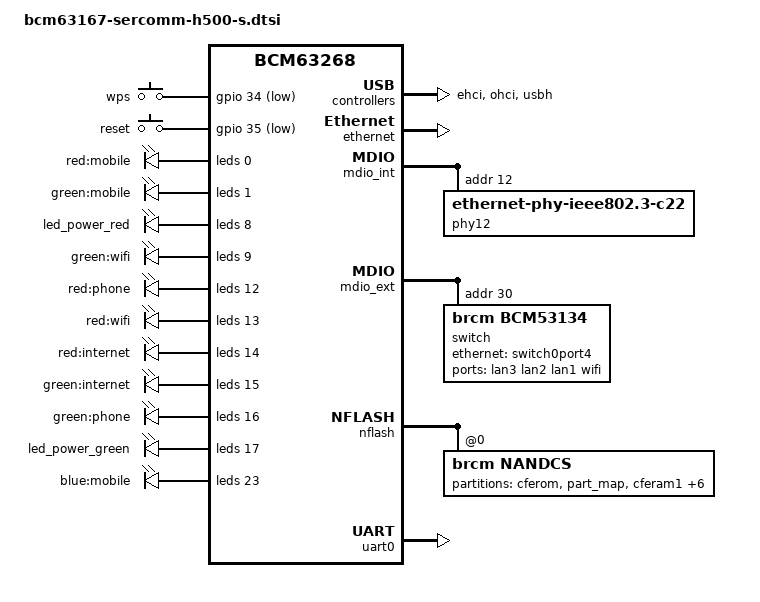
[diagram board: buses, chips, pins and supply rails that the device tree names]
// SPDX-License-Identifier: GPL-2.0-or-later

#include <dt-bindings/leds/common.h>

#include "bcm63268.dtsi"

/ {
	aliases {
		led-boot = &led_power_green;
		led-failsafe = &led_power_red;
		led-running = &led_power_green;
		led-upgrade = &led_power_green;
	};

	keys {
		compatible = "gpio-keys-polled";
		poll-interval = <100>;

		wps {
			label = "wps";
			gpios = <&gpio 34 GPIO_ACTIVE_LOW>;
			linux,code = <KEY_WPS_BUTTON>;
			debounce-interval = <60>;
		};

		reset {
			label = "reset";
			gpios = <&gpio 35 GPIO_ACTIVE_LOW>;
			linux,code = <KEY_RESTART>;
			debounce-interval = <60>;
		};
	};
};

&ehci {
	status = "okay";
};

&ethernet {
	status = "okay";

	nvmem-cells = <&macaddr_cferom_6a0>;
	nvmem-cell-names = "mac-address";
};

&leds {
	status = "okay";

	pinctrl-names = "default";
	pinctrl-0 = <&pinctrl_leds>;

	led@0 {
		reg = <0>;
		label = "red:mobile";
	};

	led@1 {
		reg = <1>;
		label = "green:mobile";
	};

	led_power_red: led@8 {
		reg = <8>;
		function = LED_FUNCTION_POWER;
		color = <LED_COLOR_ID_RED>;
		panic-indicator;
	};

	led@9 {
		reg = <9>;
		label = "green:wifi";
	};

	led@12 {
		reg = <12>;
		label = "red:phone";
	};

	led@13 {
		reg = <13>;
		label = "red:wifi";
	};

	led@14 {
		reg = <14>;
		label = "red:internet";
	};

	led@15 {
		reg = <15>;
		label = "green:internet";
	};

	led@16 {
		reg = <16>;
		label = "green:phone";
	};

	led_power_green: led@17 {
		reg = <17>;
		function = LED_FUNCTION_POWER;
		color = <LED_COLOR_ID_GREEN>;
	};

	led@23 {
		reg = <23>;
		label = "blue:mobile";
	};
};

&mdio_int {
	phy12: ethernet-phy@c {
		compatible = "ethernet-phy-ieee802.3-c22";
		reg = <12>;
	};
};

&mdio_ext {
	switch@1e {
		compatible = "brcm,bcm53134";
		reg = <30>;

		dsa,member = <1 0>;

		ports {
			#address-cells = <1>;
			#size-cells = <0>;

			port@1 {
				reg = <1>;
				label = "lan3";
			};

			port@2 {
				reg = <2>;
				label = "lan2";
			};

			port@3 {
				reg = <3>;
				label = "lan1";
			};

			port@5 {
				reg = <5>;
				label = "wifi";

				phy-mode = "rgmii";

				fixed-link {
					speed = <1000>;
					full-duplex;
				};
			};

			port@8 {
				reg = <8>;

				phy-mode = "rgmii-txid";
				ethernet = <&switch0port4>;

				fixed-link {
					speed = <1000>;
					full-duplex;
				};
			};
		};
	};
};

&nflash {
	status = "okay";

	nandcs@0 {
		compatible = "brcm,nandcs";
		reg = <0>;
		nand-ecc-step-size = <512>;
		nand-ecc-strength = <4>;
		nand-on-flash-bbt;
		brcm,nand-oob-sector-size = <64>;

		#address-cells = <1>;
		#size-cells = <1>;

		partitions {
			compatible = "fixed-partitions";
			#address-cells = <1>;
			#size-cells = <1>;

			partition@0 {
				label = "cferom";
				reg = <0x0000000 0x0020000>;
				read-only;

				nvmem-layout {
					compatible = "fixed-layout";
					#address-cells = <1>;
					#size-cells = <1>;

					macaddr_cferom_6a0: macaddr@6a0 {
						reg = <0x6a0 0x6>;
					};
				};
			};

			partition@20000 {
				label = "part_map";
				reg = <0x0020000 0x00a0000>;
				read-only;
			};

			partition@c0000 {
				label = "cferam1";
				reg = <0x00c0000 0x0140000>;
				read-only;
			};

			partition@200000 {
				label = "cferam2";
				reg = <0x0200000 0x0140000>;
				read-only;
			};

			partition@6920000 {
				label = "bootflag1";
				reg = <0x6920000 0x0140000>;
			};

			partition@6a60000 {
				label = "bootflag2";
				reg = <0x6a60000 0x0140000>;
			};

			partition@520000 {
				compatible = "sercomm,wfi";
				label = "wfi";
				reg = <0x0520000 0x6400000>;
			};

			partition@6ba0000 {
				label = "xml_cfg";
				reg = <0x6ba0000 0x0280000>;
				read-only;
			};

			partition@6e20000 {
				label = "app_data";
				reg = <0x6e20000 0x0280000>;
				read-only;
			};
		};
	};
};

&ohci {
	status = "okay";
};

&switch0 {
	dsa,member = <0 0>;

	ports {
		port@3 {
			reg = <3>;
			label = "wan";

			phy-handle = <&phy12>;
			phy-mode = "gmii";
		};

		switch0port4: port@4 {
			reg = <4>;
			label = "extsw";

			phy-mode = "rgmii-txid";

			fixed-link {
				speed = <1000>;
				full-duplex;
			};
		};
	};
};

&pinctrl {
	pinctrl_leds: leds {
		function = "led";
		pins = "gpio0",  "gpio1",  "gpio8",  "gpio9",
		       "gpio12", "gpio13", "gpio14", "gpio15",
		       "gpio16", "gpio17", "gpio23";
	};
};

&uart0 {
	status = "okay";
};

&usbh {
	status = "okay";
};
